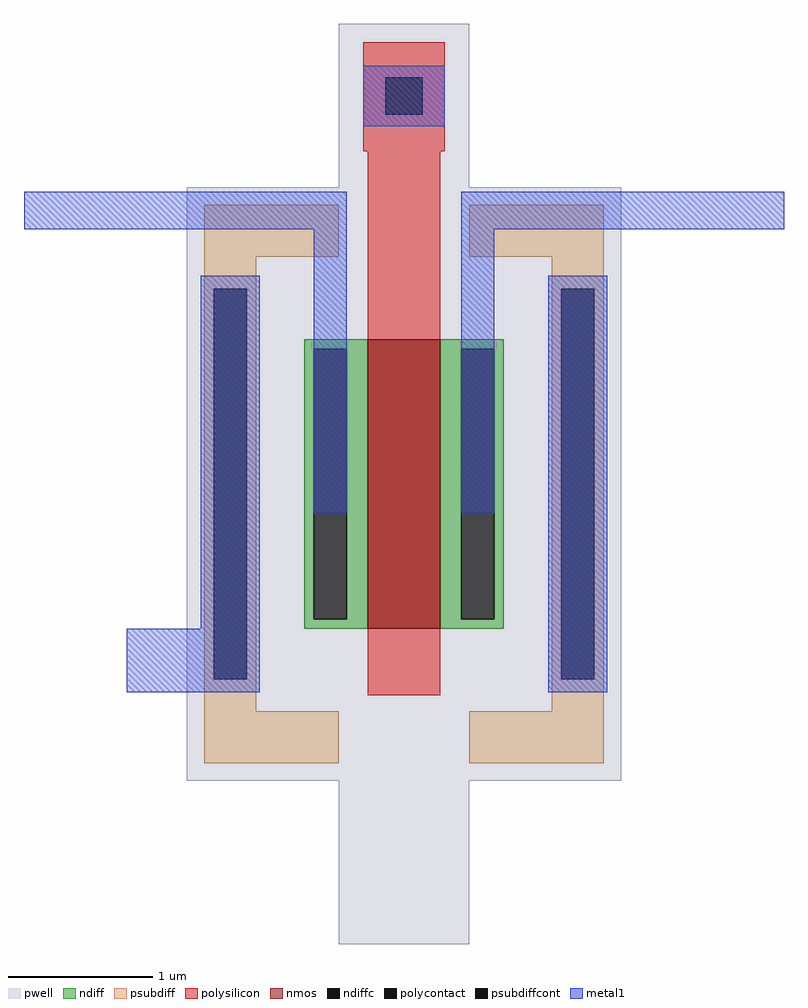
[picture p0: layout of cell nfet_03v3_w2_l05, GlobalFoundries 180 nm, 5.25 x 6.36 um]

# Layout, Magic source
magic
tech gf180mcuD
magscale 1 10
<< pwell >>
rect -300 -410 300 410
rect -90 200 90 636
rect -90 -636 90 -200
<< nmos >>
rect -50 -200 50 200
<< ndiff >>
rect -138 187 -50 200
rect -138 -187 -125 187
rect -79 -187 -50 187
rect -138 -200 -50 -187
rect 50 187 138 200
rect 50 -187 79 187
rect 125 -187 138 187
rect 50 -200 138 -187
<< ndiffc >>
rect -125 -187 -79 187
rect 79 -187 125 187
<< psubdiff >>
rect -276 270 -204 314
rect -276 -270 -263 270
rect -217 -270 -204 270
rect 204 270 276 314
rect -276 -314 -204 -270
rect 204 -270 217 270
rect 263 -270 276 270
rect 204 -314 276 -270
rect -276 314 -90 386
rect 90 314 276 386
rect -276 -386 -90 -314
rect 90 -386 276 -314
<< psubdiffcont >>
rect -263 -270 -217 270
rect 217 -270 263 270
<< polysilicon >>
rect -50 -292 50 470
rect -56 460 56 610
<< polycontact >>
rect -26 510 26 562
<< metal1 >>
rect -56 494 56 578
rect -125 -40 -79 352
rect -525 352 -79 404
rect 79 -40 125 352
rect 79 352 525 404
rect -281 -288 -199 288
rect 199 -288 281 288
rect -383 -288 -199 -200
<< properties >>
<< end >>
<< via1 >>
rect -26 510 26 562
<< metal2 >>
rect -52 500 52 584
<< properties >>
<< end >>
